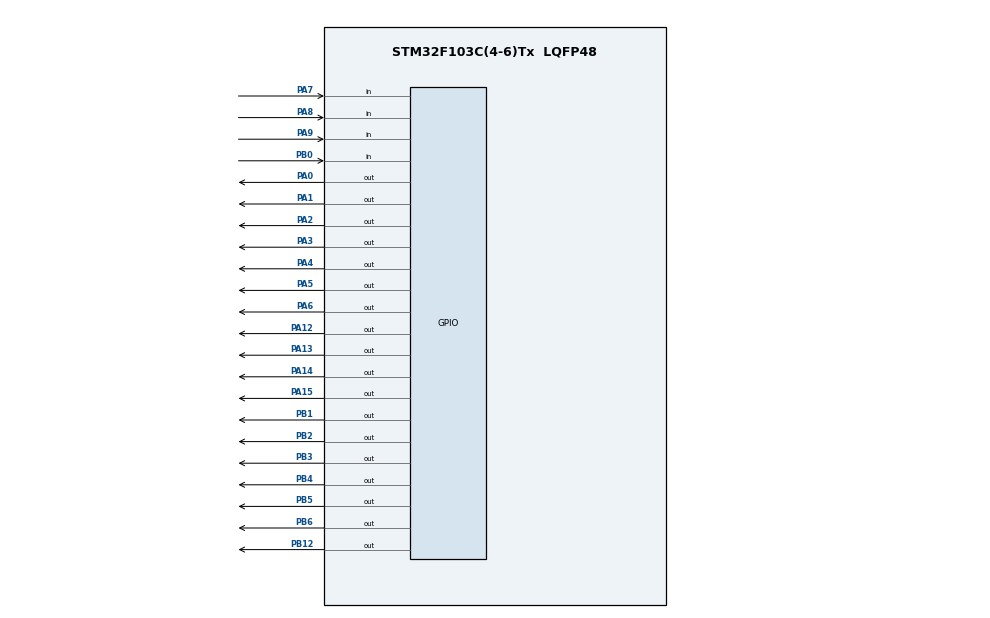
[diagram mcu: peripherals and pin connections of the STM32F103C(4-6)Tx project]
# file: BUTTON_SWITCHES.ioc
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Mcu.Family=STM32F1
Mcu.Name=STM32F103C(4-6)Tx
Mcu.Package=LQFP48
NVIC.PriorityGroup=NVIC_PRIORITYGROUP_4
NVIC.RCC_IRQn=true\:0\:0\:false\:false\:true\:true\:false
NVIC.TIM2_IRQn=true\:0\:0\:false\:false\:true\:true\:true
PA0-WKUP.Signal=GPIO_Output
PA1.Signal=GPIO_Output
PA12.Signal=GPIO_Output
PA13.Signal=GPIO_Output
PA14.Signal=GPIO_Output
PA15.Signal=GPIO_Output
PA2.Signal=GPIO_Output
PA3.Signal=GPIO_Output
PA4.Signal=GPIO_Output
PA5.Signal=GPIO_Output
PA6.Signal=GPIO_Output
PA7.Signal=GPIO_Input
PA8.Signal=GPIO_Input
PA9.Signal=GPIO_Input
PB0.Signal=GPIO_Input
PB1.Signal=GPIO_Output
PB12.Signal=GPIO_Output
PB2.Signal=GPIO_Output
PB3.Signal=GPIO_Output
PB4.Signal=GPIO_Output
PB5.Signal=GPIO_Output
PB6.Signal=GPIO_Output
PD0-OSC_IN.Mode=HSE-External-Oscillator
PD0-OSC_IN.Signal=RCC_OSC_IN
PD1-OSC_OUT.Mode=HSE-External-Oscillator
PD1-OSC_OUT.Signal=RCC_OSC_OUT
ProjectManager.HeapSize=0x200
ProjectManager.StackSize=0x400
ProjectManager.TargetToolchain=STM32CubeIDE
RCC.APB1Freq_Value=8000000
RCC.APB2Freq_Value=8000000
TIM2.Period=10-1
TIM2.Prescaler=8000-1
VP_SYS_VS_ND.Mode=No_Debug
VP_TIM2_VS_ClockSourceINT.Mode=Internal
board=custom

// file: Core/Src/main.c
/* USER CODE BEGIN Header */
/**
  ******************************************************************************
  * @file           : main.c
  * @brief          : Main program body
  ******************************************************************************
  * @attention
  *
  * <h2><center>&copy; Copyright (c) 2021 STMicroelectronics.
  * All rights reserved.</center></h2>
  *
  * This software component is licensed by ST under BSD 3-Clause license,
  * the "License"; You may not use this file except in compliance with the
  * License. You may obtain a copy of the License at:
  *                        opensource.org/licenses/BSD-3-Clause
  *
  ******************************************************************************
  */
/* USER CODE END Header */
#include "main.h"

/* USER CODE BEGIN Includes */
#include "3Color_led.h"
#include "7SEG_LED.h"
#include "Timer_interrupt.h"
#include "input_processing.h"
/* USER CODE END Includes */

/* USER CODE BEGIN PD */
#define GROUP_EN GPIOA
#define EN0 GPIO_PIN_12
#define EN1 GPIO_PIN_13
#define EN2 GPIO_PIN_14
#define EN3 GPIO_PIN_15
#define NUMS 4 // Max led

static uint16_t ENA[NUMS] = {EN0,EN1,EN2,EN3};
static int led_buffer[4] = {0,0,0,0};
int led_counter = 0;
int delay_counter = 0;
/* USER CODE END PD */

TIM_HandleTypeDef htim2;

void SystemClock_Config(void);
static void MX_GPIO_Init(void);
static void MX_TIM2_Init(void);

/* USER CODE BEGIN 0 */
void InitTimer(void){
	for(int i = 0; i < NUMS;i++){
		HAL_GPIO_WritePin(GROUP_EN,ENA[i], SET);
	}
}
void updateClockBuffer(int h,int m){
	 // Hour
		 led_buffer[0] = h /10;
		 led_buffer[1] = h % 10;
	 // Minute
		 led_buffer[2] = m /10;
	 	 led_buffer[3] = m % 10;
}
int flag_delay = 0;
void startdelay(){
	flag_delay = 1;
}
void fsm_model(int mode){
	switch(mode){
		case 0:
			if(delay_counter <= 0){
				countLEDBuffer();
				updateClockBuffer(getLimit1Value(), getLimit2Value());
				startdelay();
			}
			break;
		case 1:
			initLED();
			updateClockBuffer(1,getCurrentStatus(1));
			break;
		case 2:
			initLED();
			updateClockBuffer(2,getCurrentStatus(2));
			break;
		case 3:
			initLED();
			updateClockBuffer(3,getCurrentStatus(3));
			break;
	}
}
/* USER CODE END 0 */

int main(void)
{

  /* MCU Configuration--------------------------------------------------------*/

  /* Reset of all peripherals, Initializes the Flash interface and the Systick. */
  HAL_Init();

  /* Configure the system clock */
  SystemClock_Config();

  /* Initialize all configured peripherals */
  MX_GPIO_Init();
  MX_TIM2_Init();
  /* USER CODE BEGIN 2 */
  	InitTimer();

   sevenSegmentLEDInit();
   initLED();
   // start for led
   trafficLIGHTStart(0,0);
   trafficLIGHTStart(1,1);
  /* USER CODE END 2 */

  /* Infinite loop */
  while (1)
  {

    /* USER CODE BEGIN 3 */
//	  for(int i = 0; i < N0_OF_BUTTONS;i++){
//		  fsm_for_input_processing(i);
//		 }
//	  controlButton();
//	  fsm_model(0);
  }
  /* USER CODE END 3 */
}

void SystemClock_Config(void)
{
  RCC_OscInitTypeDef RCC_OscInitStruct = {0};
  RCC_ClkInitTypeDef RCC_ClkInitStruct = {0};

  /** Initializes the RCC Oscillators according to the specified parameters
  * in the RCC_OscInitTypeDef structure.
  */
  RCC_OscInitStruct.OscillatorType = RCC_OSCILLATORTYPE_HSI;
  RCC_OscInitStruct.HSIState = RCC_HSI_ON;
  RCC_OscInitStruct.HSICalibrationValue = RCC_HSICALIBRATION_DEFAULT;
  RCC_OscInitStruct.PLL.PLLState = RCC_PLL_NONE;
  if (HAL_RCC_OscConfig(&RCC_OscInitStruct) != HAL_OK)
  {
    Error_Handler();
  }
  /** Initializes the CPU, AHB and APB buses clocks
  */
  RCC_ClkInitStruct.ClockType = RCC_CLOCKTYPE_HCLK|RCC_CLOCKTYPE_SYSCLK
                              |RCC_CLOCKTYPE_PCLK1|RCC_CLOCKTYPE_PCLK2;
  RCC_ClkInitStruct.SYSCLKSource = RCC_SYSCLKSOURCE_HSI;
  RCC_ClkInitStruct.AHBCLKDivider = RCC_SYSCLK_DIV1;
  RCC_ClkInitStruct.APB1CLKDivider = RCC_HCLK_DIV1;
  RCC_ClkInitStruct.APB2CLKDivider = RCC_HCLK_DIV1;

  if (HAL_RCC_ClockConfig(&RCC_ClkInitStruct, FLASH_LATENCY_0) != HAL_OK)
  {
    Error_Handler();
  }
}

static void MX_TIM2_Init(void)
{

  TIM_ClockConfigTypeDef sClockSourceConfig = {0};
  TIM_MasterConfigTypeDef sMasterConfig = {0};

  htim2.Instance = TIM2;
  htim2.Init.Prescaler = 8000-1;
  htim2.Init.CounterMode = TIM_COUNTERMODE_UP;
  htim2.Init.Period = 10-1;
  htim2.Init.ClockDivision = TIM_CLOCKDIVISION_DIV1;
  htim2.Init.AutoReloadPreload = TIM_AUTORELOAD_PRELOAD_DISABLE;
  if (HAL_TIM_Base_Init(&htim2) != HAL_OK)
  {
    Error_Handler();
  }
  sClockSourceConfig.ClockSource = TIM_CLOCKSOURCE_INTERNAL;
  if (HAL_TIM_ConfigClockSource(&htim2, &sClockSourceConfig) != HAL_OK)
  {
    Error_Handler();
  }
  sMasterConfig.MasterOutputTrigger = TIM_TRGO_RESET;
  sMasterConfig.MasterSlaveMode = TIM_MASTERSLAVEMODE_DISABLE;
  if (HAL_TIMEx_MasterConfigSynchronization(&htim2, &sMasterConfig) != HAL_OK)
  {
    Error_Handler();
  }

}

static void MX_GPIO_Init(void)
{
  GPIO_InitTypeDef GPIO_InitStruct = {0};

  /* GPIO Ports Clock Enable */
  __HAL_RCC_GPIOD_CLK_ENABLE();
  __HAL_RCC_GPIOA_CLK_ENABLE();
  __HAL_RCC_GPIOB_CLK_ENABLE();

  /*Configure GPIO pin Output Level */
  HAL_GPIO_WritePin(GPIOA, GPIO_PIN_0|GPIO_PIN_1|GPIO_PIN_2|GPIO_PIN_3
                          |GPIO_PIN_4|GPIO_PIN_5|GPIO_PIN_6|GPIO_PIN_12
                          |GPIO_PIN_13|GPIO_PIN_14|GPIO_PIN_15, GPIO_PIN_RESET);

  /*Configure GPIO pin Output Level */
  HAL_GPIO_WritePin(GPIOB, GPIO_PIN_1|GPIO_PIN_2|GPIO_PIN_12|GPIO_PIN_3
                          |GPIO_PIN_4|GPIO_PIN_5|GPIO_PIN_6, GPIO_PIN_RESET);

  /*Configure GPIO pins : PA0 PA1 PA2 PA3
                           PA4 PA5 PA6 PA12
                           PA13 PA14 PA15 */
  GPIO_InitStruct.Pin = GPIO_PIN_0|GPIO_PIN_1|GPIO_PIN_2|GPIO_PIN_3
                          |GPIO_PIN_4|GPIO_PIN_5|GPIO_PIN_6|GPIO_PIN_12
                          |GPIO_PIN_13|GPIO_PIN_14|GPIO_PIN_15;
  GPIO_InitStruct.Mode = GPIO_MODE_OUTPUT_PP;
  GPIO_InitStruct.Pull = GPIO_NOPULL;
  GPIO_InitStruct.Speed = GPIO_SPEED_FREQ_LOW;
  HAL_GPIO_Init(GPIOA, &GPIO_InitStruct);

  /*Configure GPIO pins : PA7 PA8 PA9 */
  GPIO_InitStruct.Pin = GPIO_PIN_7|GPIO_PIN_8|GPIO_PIN_9;
  GPIO_InitStruct.Mode = GPIO_MODE_INPUT;
  GPIO_InitStruct.Pull = GPIO_NOPULL;
  HAL_GPIO_Init(GPIOA, &GPIO_InitStruct);

  /*Configure GPIO pin : PB0 */
  GPIO_InitStruct.Pin = GPIO_PIN_0;
  GPIO_InitStruct.Mode = GPIO_MODE_INPUT;
  GPIO_InitStruct.Pull = GPIO_NOPULL;
  HAL_GPIO_Init(GPIOB, &GPIO_InitStruct);

  /*Configure GPIO pins : PB1 PB2 PB12 PB3
                           PB4 PB5 PB6 */
  GPIO_InitStruct.Pin = GPIO_PIN_1|GPIO_PIN_2|GPIO_PIN_12|GPIO_PIN_3
                          |GPIO_PIN_4|GPIO_PIN_5|GPIO_PIN_6;
  GPIO_InitStruct.Mode = GPIO_MODE_OUTPUT_PP;
  GPIO_InitStruct.Pull = GPIO_NOPULL;
  GPIO_InitStruct.Speed = GPIO_SPEED_FREQ_LOW;
  HAL_GPIO_Init(GPIOB, &GPIO_InitStruct);

}

/* USER CODE BEGIN 4 */
int val = -1; // Init
void clear7SEG(int index){
	// Turn off the previous:
	if(index >= 0){
		HAL_GPIO_WritePin(GROUP_EN, ENA[index],SET);
	}
}
void update7SEG(int index){
	HAL_GPIO_WritePin(GROUP_EN, ENA[index],RESET);
	updatesevenSegmentLEDBuffer(led_buffer[index],0);
	sevenSegementLEDDriver(0);
}
int updateIndex(int index){
	// Update the index
	return (index + 1) % NUMS;
}
void delayTimer(void){
	delay_counter = timer_run(delay_counter,DELAY);
	if(delay_counter <= 0){
		countLEDBuffer();
		flag_delay = 0;
	}
}
void presentCLOCK(void){
	led_counter--;
	if(led_counter <= 0){
		led_counter = LED_TIME/TIMER_CYCLE;
		HAL_GPIO_TogglePin(GPIOB, GPIO_PIN_12);
		clear7SEG(val);
		val = updateIndex(val);
		update7SEG(val);
	}
}

void HAL_TIM_PeriodElapsedCallback(TIM_HandleTypeDef *htim){
		if(getModevalue() > 0){
			blinkLED2Hz(getModevalue());
		}
		if(flag_delay == 1){
			delayTimer();
		}
		//button_reading();
		presentCLOCK();
}

/* USER CODE END 4 */

void Error_Handler(void)
{
  __disable_irq();
  while (1)
  {
  }
}

/************************ (C) COPYRIGHT STMicroelectronics *****END OF FILE****/
